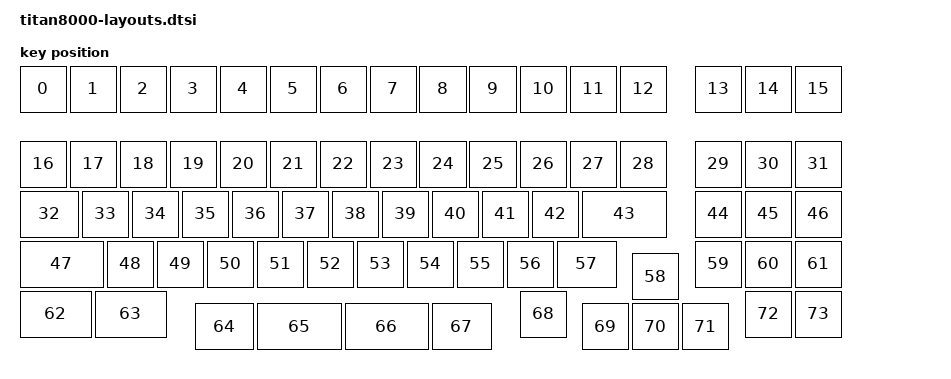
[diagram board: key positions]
#include <physical_layouts.dtsi>

/ {
	titan8000_physical_layout: titan8000_physical_layout {
		compatible = "zmk,physical-layout";
		display-name = "TITAN 8000";
		transform = <&default_transform>;
        kscan = <&kscan0>;

        keys  //                     w   h    x    y     rot    rx    ry
            = <&key_physical_attrs 100 100    0    0       0     0     0>
            , <&key_physical_attrs 100 100  100    0       0     0     0>
            , <&key_physical_attrs 100 100  200    0       0     0     0>
            , <&key_physical_attrs 100 100  300    0       0     0     0>
            , <&key_physical_attrs 100 100  400    0       0     0     0>
            , <&key_physical_attrs 100 100  500    0       0     0     0>
            , <&key_physical_attrs 100 100  600    0       0     0     0>
            , <&key_physical_attrs 100 100  700    0       0     0     0>
            , <&key_physical_attrs 100 100  800    0       0     0     0>
            , <&key_physical_attrs 100 100  900    0       0     0     0>
            , <&key_physical_attrs 100 100 1000    0       0     0     0>
            , <&key_physical_attrs 100 100 1100    0       0     0     0>
            , <&key_physical_attrs 100 100 1200    0       0     0     0>
            , <&key_physical_attrs 100 100 1350    0       0     0     0>
            , <&key_physical_attrs 100 100 1450    0       0     0     0>
            , <&key_physical_attrs 100 100 1550    0       0     0     0>
            , <&key_physical_attrs 100 100    0  150       0     0     0>
            , <&key_physical_attrs 100 100  100  150       0     0     0>
            , <&key_physical_attrs 100 100  200  150       0     0     0>
            , <&key_physical_attrs 100 100  300  150       0     0     0>
            , <&key_physical_attrs 100 100  400  150       0     0     0>
            , <&key_physical_attrs 100 100  500  150       0     0     0>
            , <&key_physical_attrs 100 100  600  150       0     0     0>
            , <&key_physical_attrs 100 100  700  150       0     0     0>
            , <&key_physical_attrs 100 100  800  150       0     0     0>
            , <&key_physical_attrs 100 100  900  150       0     0     0>
            , <&key_physical_attrs 100 100 1000  150       0     0     0>
            , <&key_physical_attrs 100 100 1100  150       0     0     0>
            , <&key_physical_attrs 100 100 1200  150       0     0     0>
            , <&key_physical_attrs 100 100 1350  150       0     0     0>
            , <&key_physical_attrs 100 100 1450  150       0     0     0>
            , <&key_physical_attrs 100 100 1550  150       0     0     0>
            , <&key_physical_attrs 125 100    0  250       0     0     0>
            , <&key_physical_attrs 100 100  125  250       0     0     0>
            , <&key_physical_attrs 100 100  225  250       0     0     0>
            , <&key_physical_attrs 100 100  325  250       0     0     0>
            , <&key_physical_attrs 100 100  425  250       0     0     0>
            , <&key_physical_attrs 100 100  525  250       0     0     0>
            , <&key_physical_attrs 100 100  625  250       0     0     0>
            , <&key_physical_attrs 100 100  725  250       0     0     0>
            , <&key_physical_attrs 100 100  825  250       0     0     0>
            , <&key_physical_attrs 100 100  925  250       0     0     0>
            , <&key_physical_attrs 100 100 1025  250       0     0     0>
            , <&key_physical_attrs 175 100 1125  250       0     0     0>
            , <&key_physical_attrs 100 100 1350  250       0     0     0>
            , <&key_physical_attrs 100 100 1450  250       0     0     0>
            , <&key_physical_attrs 100 100 1550  250       0     0     0>
            , <&key_physical_attrs 175 100    0  350       0     0     0>
            , <&key_physical_attrs 100 100  175  350       0     0     0>
            , <&key_physical_attrs 100 100  275  350       0     0     0>
            , <&key_physical_attrs 100 100  375  350       0     0     0>
            , <&key_physical_attrs 100 100  475  350       0     0     0>
            , <&key_physical_attrs 100 100  575  350       0     0     0>
            , <&key_physical_attrs 100 100  675  350       0     0     0>
            , <&key_physical_attrs 100 100  775  350       0     0     0>
            , <&key_physical_attrs 100 100  875  350       0     0     0>
            , <&key_physical_attrs 100 100  975  350       0     0     0>
            , <&key_physical_attrs 125 100 1075  350       0     0     0>
            , <&key_physical_attrs 100 100 1225  375       0     0     0>
            , <&key_physical_attrs 100 100 1350  350       0     0     0>
            , <&key_physical_attrs 100 100 1450  350       0     0     0>
            , <&key_physical_attrs 100 100 1550  350       0     0     0>
            , <&key_physical_attrs 150 100    0  450       0     0     0>
            , <&key_physical_attrs 150 100  150  450       0     0     0>
            , <&key_physical_attrs 125 100  350  475       0     0     0>
            , <&key_physical_attrs 175 100  475  475       0     0     0>
            , <&key_physical_attrs 175 100  650  475       0     0     0>
            , <&key_physical_attrs 125 100  825  475       0     0     0>
            , <&key_physical_attrs 100 100 1000  450       0     0     0>
            , <&key_physical_attrs 100 100 1125  475       0     0     0>
            , <&key_physical_attrs 100 100 1225  475       0     0     0>
            , <&key_physical_attrs 100 100 1325  475       0     0     0>
            , <&key_physical_attrs 100 100 1450  450       0     0     0>
            , <&key_physical_attrs 100 100 1550  450       0     0     0>
            ;
    };
};
